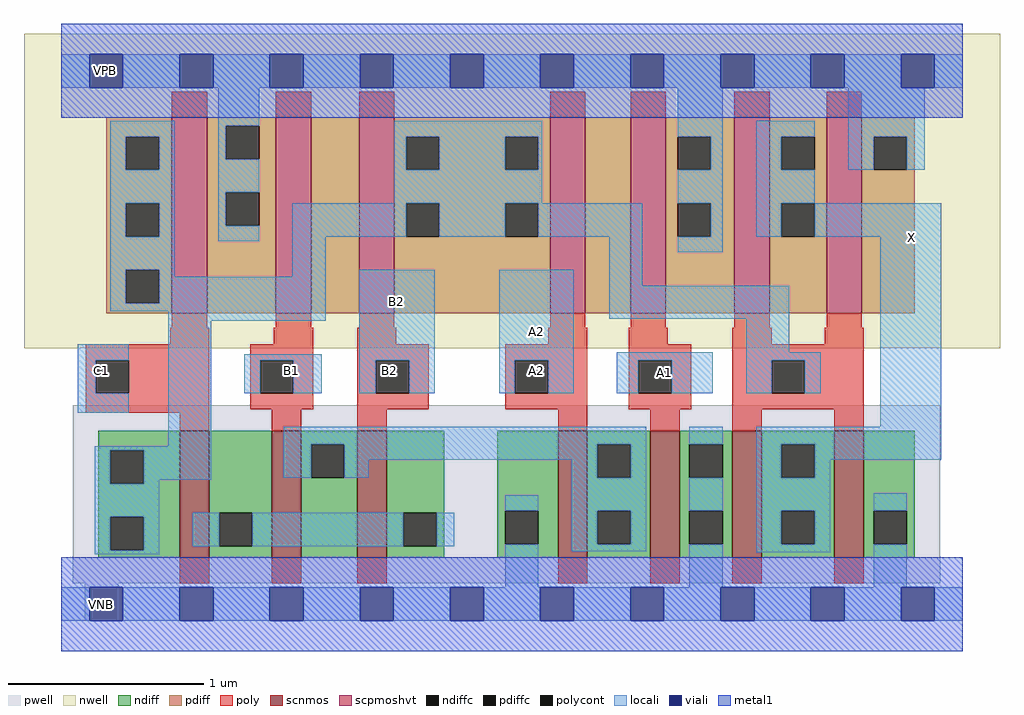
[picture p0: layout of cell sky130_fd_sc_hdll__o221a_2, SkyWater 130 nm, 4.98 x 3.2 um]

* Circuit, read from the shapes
.subckt sky130_fd_sc_hdll__o221a_2 A1 A2 B1 B2 C1 VGND VNB VPB VPWR X
XM1 n1 C1 n2 VNB sky130_fd_pr__nfet_01v8 w=0.65 l=0.15
XM2 n3 B1 n1 VNB sky130_fd_pr__nfet_01v8 w=0.65 l=0.15
XM3 n1 B2 n3 VNB sky130_fd_pr__nfet_01v8 w=0.65 l=0.15
XM4 n3 A2 VGND VNB sky130_fd_pr__nfet_01v8 w=0.65 l=0.15
XM5 VGND A1 n3 VNB sky130_fd_pr__nfet_01v8 w=0.65 l=0.15
XM6 X n2 VGND VNB sky130_fd_pr__nfet_01v8 w=0.65 l=0.15 m=2
XM7 VPWR C1 n2 VPB sky130_fd_pr__pfet_01v8_hvt w=1 l=0.18
XM8 n4 B1 VPWR VPB sky130_fd_pr__pfet_01v8_hvt w=1 l=0.18
XM9 n2 B2 n4 VPB sky130_fd_pr__pfet_01v8_hvt w=1 l=0.18
XM10 n5 A2 n2 VPB sky130_fd_pr__pfet_01v8_hvt w=1 l=0.18
XM11 VPWR A1 n5 VPB sky130_fd_pr__pfet_01v8_hvt w=1 l=0.18
XM12 X n2 VPWR VPB sky130_fd_pr__pfet_01v8_hvt w=1 l=0.18 m=2
.ends

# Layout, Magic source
magic
tech sky130A
magscale 1 2
<< nwell >>
rect -38 261 958 582
<< pwell >>
rect 12 21 897 203
rect 24 -17 58 21
<< scnmos >>
rect 121 47 151 177
rect 215 47 245 177
rect 302 47 332 177
rect 507 47 537 177
rect 601 47 631 177
rect 685 47 715 177
rect 789 47 819 177
<< scpmoshvt >>
rect 113 297 149 497
rect 219 297 255 497
rect 304 297 340 497
rect 499 297 535 497
rect 581 297 617 497
rect 687 297 723 497
rect 781 297 817 497
<< ndiff >>
rect 38 157 121 177
rect 38 123 50 157
rect 84 123 121 157
rect 38 89 121 123
rect 38 55 50 89
rect 84 55 121 89
rect 38 47 121 55
rect 151 93 215 177
rect 151 59 161 93
rect 195 59 215 93
rect 151 47 215 59
rect 245 163 302 177
rect 245 129 255 163
rect 289 129 302 163
rect 245 47 302 129
rect 332 93 391 177
rect 332 59 349 93
rect 383 59 391 93
rect 332 47 391 59
rect 445 95 507 177
rect 445 61 453 95
rect 487 61 507 95
rect 445 47 507 61
rect 537 163 601 177
rect 537 129 547 163
rect 581 129 601 163
rect 537 95 601 129
rect 537 61 547 95
rect 581 61 601 95
rect 537 47 601 61
rect 631 163 685 177
rect 631 129 641 163
rect 675 129 685 163
rect 631 95 685 129
rect 631 61 641 95
rect 675 61 685 95
rect 631 47 685 61
rect 715 163 789 177
rect 715 129 735 163
rect 769 129 789 163
rect 715 95 789 129
rect 715 61 735 95
rect 769 61 789 95
rect 715 47 789 61
rect 819 95 871 177
rect 819 61 829 95
rect 863 61 871 95
rect 819 47 871 61
<< pdiff >>
rect 46 477 113 497
rect 46 443 66 477
rect 100 443 113 477
rect 46 409 113 443
rect 46 375 66 409
rect 100 375 113 409
rect 46 341 113 375
rect 46 307 66 341
rect 100 307 113 341
rect 46 297 113 307
rect 149 488 219 497
rect 149 454 168 488
rect 202 454 219 488
rect 149 420 219 454
rect 149 386 168 420
rect 202 386 219 420
rect 149 297 219 386
rect 255 297 304 497
rect 340 477 499 497
rect 340 443 352 477
rect 386 443 453 477
rect 487 443 499 477
rect 340 409 499 443
rect 340 375 352 409
rect 386 375 453 409
rect 487 375 499 409
rect 340 297 499 375
rect 535 297 581 497
rect 617 477 687 497
rect 617 443 629 477
rect 663 443 687 477
rect 617 409 687 443
rect 617 375 629 409
rect 663 375 687 409
rect 617 297 687 375
rect 723 477 781 497
rect 723 443 735 477
rect 769 443 781 477
rect 723 409 781 443
rect 723 375 735 409
rect 769 375 781 409
rect 723 297 781 375
rect 817 477 871 497
rect 817 443 829 477
rect 863 443 871 477
rect 817 297 871 443
<< ndiffc >>
rect 50 123 84 157
rect 50 55 84 89
rect 161 59 195 93
rect 255 129 289 163
rect 349 59 383 93
rect 453 61 487 95
rect 547 129 581 163
rect 547 61 581 95
rect 641 129 675 163
rect 641 61 675 95
rect 735 129 769 163
rect 735 61 769 95
rect 829 61 863 95
<< pdiffc >>
rect 66 443 100 477
rect 66 375 100 409
rect 66 307 100 341
rect 168 454 202 488
rect 168 386 202 420
rect 352 443 386 477
rect 453 443 487 477
rect 352 375 386 409
rect 453 375 487 409
rect 629 443 663 477
rect 629 375 663 409
rect 735 443 769 477
rect 735 375 769 409
rect 829 443 863 477
<< poly >>
rect 113 497 149 523
rect 219 497 255 523
rect 304 497 340 523
rect 499 497 535 523
rect 581 497 617 523
rect 687 497 723 523
rect 781 497 817 523
rect 113 282 149 297
rect 219 282 255 297
rect 304 282 340 297
rect 499 282 535 297
rect 581 282 617 297
rect 687 282 723 297
rect 781 282 817 297
rect 111 265 151 282
rect 217 265 257 282
rect 25 249 151 265
rect 25 215 35 249
rect 69 215 151 249
rect 25 195 151 215
rect 193 249 257 265
rect 193 215 203 249
rect 237 215 257 249
rect 193 199 257 215
rect 302 265 342 282
rect 497 265 537 282
rect 302 249 375 265
rect 302 215 321 249
rect 355 215 375 249
rect 302 199 375 215
rect 453 249 537 265
rect 453 215 463 249
rect 497 215 537 249
rect 453 199 537 215
rect 579 265 619 282
rect 685 265 725 282
rect 779 265 819 282
rect 579 249 643 265
rect 579 215 589 249
rect 623 215 643 249
rect 579 199 643 215
rect 685 249 819 265
rect 685 215 725 249
rect 759 215 819 249
rect 685 199 819 215
rect 121 177 151 195
rect 215 177 245 199
rect 302 177 332 199
rect 507 177 537 199
rect 601 177 631 199
rect 685 177 715 199
rect 789 177 819 199
rect 121 21 151 47
rect 215 21 245 47
rect 302 21 332 47
rect 507 21 537 47
rect 601 21 631 47
rect 685 21 715 47
rect 789 21 819 47
<< polycont >>
rect 35 215 69 249
rect 203 215 237 249
rect 321 215 355 249
rect 463 215 497 249
rect 589 215 623 249
rect 725 215 759 249
<< locali >>
rect 0 527 29 561
rect 63 527 121 561
rect 155 527 213 561
rect 247 527 305 561
rect 339 527 397 561
rect 431 527 489 561
rect 523 527 581 561
rect 615 527 673 561
rect 707 527 765 561
rect 799 527 857 561
rect 891 527 920 561
rect 50 477 116 493
rect 50 443 66 477
rect 100 443 116 477
rect 50 409 116 443
rect 50 375 66 409
rect 100 375 116 409
rect 50 341 116 375
rect 160 488 202 527
rect 160 454 168 488
rect 160 420 202 454
rect 160 386 168 420
rect 340 477 491 493
rect 340 443 352 477
rect 386 443 453 477
rect 487 443 491 477
rect 340 409 491 443
rect 629 477 675 527
rect 663 443 675 477
rect 629 409 675 443
rect 160 370 202 386
rect 236 375 352 409
rect 386 375 453 409
rect 487 375 593 409
rect 50 307 66 341
rect 100 334 116 341
rect 236 334 270 375
rect 100 307 270 334
rect 50 299 270 307
rect 109 289 270 299
rect 17 249 69 265
rect 17 215 35 249
rect 17 195 69 215
rect 109 161 153 289
rect 187 249 266 255
rect 187 215 203 249
rect 237 215 266 249
rect 304 249 381 341
rect 304 215 321 249
rect 355 215 381 249
rect 447 249 523 341
rect 559 325 593 375
rect 663 375 675 409
rect 709 477 769 493
rect 709 443 735 477
rect 803 477 881 527
rect 803 443 829 477
rect 863 443 881 477
rect 709 409 769 443
rect 709 375 735 409
rect 769 375 898 409
rect 629 359 675 375
rect 559 291 743 325
rect 699 257 743 291
rect 447 215 463 249
rect 497 215 523 249
rect 567 249 665 257
rect 567 215 589 249
rect 623 215 665 249
rect 699 249 775 257
rect 699 215 725 249
rect 759 215 775 249
rect 836 181 898 375
rect 34 157 153 161
rect 34 123 50 157
rect 84 127 153 157
rect 227 163 597 181
rect 227 129 255 163
rect 289 147 547 163
rect 289 129 314 147
rect 521 129 547 147
rect 581 129 597 163
rect 84 123 100 127
rect 34 89 100 123
rect 453 95 487 111
rect 34 55 50 89
rect 84 55 100 89
rect 134 59 161 93
rect 195 59 349 93
rect 383 59 401 93
rect 34 51 100 55
rect 453 17 487 61
rect 521 95 597 129
rect 521 61 547 95
rect 581 61 597 95
rect 521 54 597 61
rect 641 163 675 181
rect 641 95 675 129
rect 641 17 675 61
rect 709 163 898 181
rect 709 129 735 163
rect 769 147 898 163
rect 769 129 785 147
rect 709 95 785 129
rect 709 61 735 95
rect 769 61 785 95
rect 709 53 785 61
rect 829 95 863 113
rect 829 17 863 61
rect 0 -17 29 17
rect 63 -17 121 17
rect 155 -17 213 17
rect 247 -17 305 17
rect 339 -17 397 17
rect 431 -17 489 17
rect 523 -17 581 17
rect 615 -17 673 17
rect 707 -17 765 17
rect 799 -17 857 17
rect 891 -17 920 17
<< viali >>
rect 29 527 63 561
rect 121 527 155 561
rect 213 527 247 561
rect 305 527 339 561
rect 397 527 431 561
rect 489 527 523 561
rect 581 527 615 561
rect 673 527 707 561
rect 765 527 799 561
rect 857 527 891 561
rect 29 -17 63 17
rect 121 -17 155 17
rect 213 -17 247 17
rect 305 -17 339 17
rect 397 -17 431 17
rect 489 -17 523 17
rect 581 -17 615 17
rect 673 -17 707 17
rect 765 -17 799 17
rect 857 -17 891 17
<< metal1 >>
rect 0 561 920 592
rect 0 527 29 561
rect 63 527 121 561
rect 155 527 213 561
rect 247 527 305 561
rect 339 527 397 561
rect 431 527 489 561
rect 523 527 581 561
rect 615 527 673 561
rect 707 527 765 561
rect 799 527 857 561
rect 891 527 920 561
rect 0 496 920 527
rect 0 17 920 48
rect 0 -17 29 17
rect 63 -17 121 17
rect 155 -17 213 17
rect 247 -17 305 17
rect 339 -17 397 17
rect 431 -17 489 17
rect 523 -17 581 17
rect 615 -17 673 17
rect 707 -17 765 17
rect 799 -17 857 17
rect 891 -17 920 17
rect 0 -48 920 -17
<< labels >>
flabel locali s 320 292 364 326 0 FreeSans 400 0 0 0 B2
port 4 nsew signal input
flabel locali s 447 215 523 341 0 FreeSans 400 0 0 0 A2
port 2 nsew signal input
flabel locali s 485 238 485 238 0 FreeSans 400 0 0 0 A2
port 2 nsew
flabel locali s 851 357 885 391 0 FreeSans 400 0 0 0 X
port 10 nsew signal output
flabel locali s 218 221 252 255 0 FreeSans 400 0 0 0 B1
port 3 nsew signal input
flabel locali s 24 221 58 255 0 FreeSans 200 0 0 0 C1
port 5 nsew signal input
flabel locali s 567 215 665 257 0 FreeSans 400 0 0 0 A1
port 1 nsew signal input
flabel locali s 313 221 357 255 0 FreeSans 400 0 0 0 B2
port 4 nsew signal input
flabel nwell s 28 527 62 561 0 FreeSans 200 0 0 0 VPB
port 8 nsew power bidirectional
flabel pwell s 24 -17 58 17 0 FreeSans 200 0 0 0 VNB
port 7 nsew ground bidirectional
flabel metal1 s 24 -17 58 17 0 FreeSans 200 0 0 0 VGND
port 6 nsew ground bidirectional
flabel metal1 s 28 527 62 561 0 FreeSans 200 0 0 0 VPWR
port 9 nsew power bidirectional
rlabel comment s 0 0 0 0 4 o221a_2
<< properties >>
string LEFsite unithd
string LEFclass CORE
string FIXED_BBOX 0 0 920 544
string GDS_FILE $PDKPATH/libs.ref/sky130_fd_sc_hdll/gds/sky130_fd_sc_hdll.gds
string LEFsymmetry X Y R90
string GDS_END 2491968
string GDS_START 2484146
string LEFproperties maskLayoutSubType "abstract" prCellType "standard" originalViewName "layout"
<< end >>
